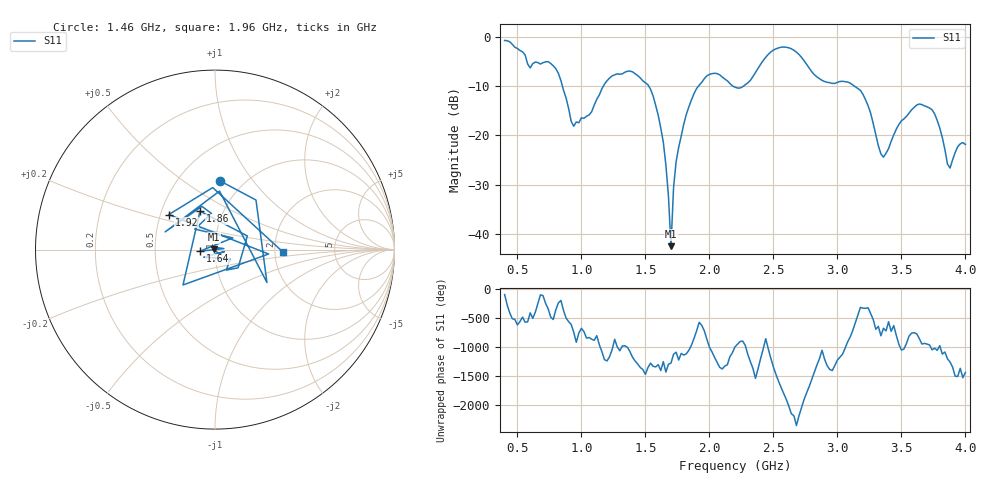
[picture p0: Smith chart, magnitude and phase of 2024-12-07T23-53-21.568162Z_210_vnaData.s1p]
!Created with skrf (http://scikit-rf.org).
# Hz S RI R 50.0
!freq ReS11 ImS11
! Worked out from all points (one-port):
!   181 points, 400 MHz to 4 GHz, reference 50 ohm
!   lowest |S11| = -42.5 dB at 1.7 GHz (marker M1), VSWR 1.02, Z = 49.3 + j0.215 ohm
!   |S11| at or under -10 dB: 851.8 MHz to 1.171 GHz (319.5 MHz wide, 31.6 % of centre); 1.526 GHz to 1.914 GHz (388.1 MHz wide, 22.6 % of centre); 3.135 GHz to end of sweep (the widest 3 of 4)
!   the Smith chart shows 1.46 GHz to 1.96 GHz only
!   S11 on the Smith chart (normalised r, x): 1.46 GHz: 0.78, +0.70; 1.64 GHz: 0.84, -0.02; 1.86 GHz: 0.78, +0.35; 1.92 GHz: 0.55, +0.24; 1.96 GHz: 2.21, -0.06
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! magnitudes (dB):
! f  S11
! 400 MHz  -0.7
! 600 MHz  -6.3
! 760 MHz  -5.4
! 860 MHz  -10.8
! 940 MHz  -18.1
! 1.3 GHz  -7.6
! 1.46 GHz  -8.3
! 1.56 GHz  -12.0
! 1.64 GHz  -21.4
! 1.68 GHz  -32.3
! 1.7 GHz  -42.5
! 1.72 GHz  -30.6
! 1.76 GHz  -22.4
! 1.86 GHz  -12.8
! 1.92 GHz  -9.8
! 1.96 GHz  -8.5
! 2.2 GHz  -10.2
! 2.5 GHz  -2.7
! 2.66 GHz  -2.7
! 2.88 GHz  -8.8
! 3.1 GHz  -9.4
! 3.22 GHz  -12.8
! 3.36 GHz  -24.4
! 3.56 GHz  -15.5
! 3.74 GHz  -14.8
! 3.88 GHz  -26.7
! 3.94 GHz  -22.3
! 4 GHz  -21.9
